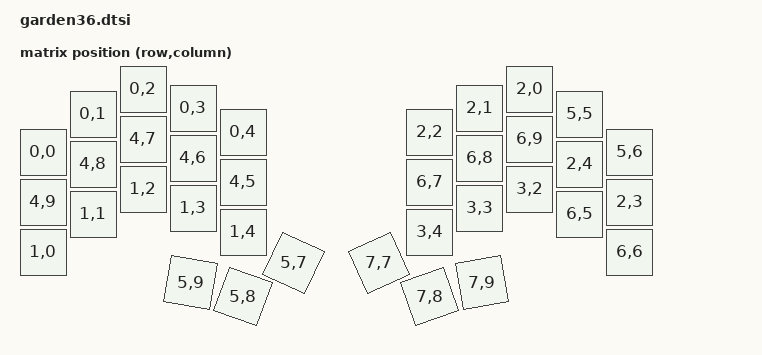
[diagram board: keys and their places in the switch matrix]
#include <physical_layouts.dtsi>
#include <dt-bindings/zmk/matrix_transform.h>

 / {
     chosen {
         zmk,kscan            = &kscan0;
         zmk,physical-layout  = &physical_layout0;
     };
     
    default_transform: keymap_transform_0 {
         compatible = "zmk,matrix-transform";
         columns    = <10>;
         rows       = <8>;
    
         // | SW1  | SW2  | SW3  | SW4  | SW5  |   | SW15 | SW11 | SW7  | SW4  | SW1  |
         // | SW6  | SW7  | SW8  | SW9  | SW10 |   | SW16 | SW12 | SW8  | SW5  | SW2  |
         // | SW11 | SW12 | SW13 | SW14 | SW15 |   | SW17 | SW13 | SW9  | SW6  | SW3  |
         //               | SW16 | SW17 | SW18 |   | SW18 | SW14 | SW10 |

        map = <
            RC(0,0) RC(0,1) RC(0,2) RC(0,3) RC(0,4)     RC(4,9) RC(4,8) RC(4,7) RC(4,6) RC(4,5)
            RC(1,0) RC(1,1) RC(1,2) RC(1,3) RC(1,4)     RC(5,9) RC(5,8) RC(5,7) RC(5,6) RC(5,5)
            RC(2,0) RC(2,1) RC(2,2) RC(2,3) RC(2,4)     RC(6,9) RC(6,8) RC(6,7) RC(6,6) RC(6,5)
                            RC(3,2) RC(3,3) RC(3,4)     RC(7,9) RC(7,8) RC(7,7)
        >;
    };
     physical_layout0: physical_layout_0 {
        compatible = "zmk,physical-layout";
        display-name = "Default Layout";

        kscan = <&kscan0>;
        transform = <&default_transform>;

        keys  //                     w   h    x    y     rot    rx    ry
            = <&key_physical_attrs 100 100    0  126       0     0     0>
            , <&key_physical_attrs 100 100  100   50       0     0     0>
            , <&key_physical_attrs 100 100  200    0       0     0     0>
            , <&key_physical_attrs 100 100  300   38       0     0     0>
            , <&key_physical_attrs 100 100  400   86       0     0     0>
            , <&key_physical_attrs 100 100    0  226       0     0     0>
            , <&key_physical_attrs 100 100  100  150       0     0     0>
            , <&key_physical_attrs 100 100  200  100       0     0     0>
            , <&key_physical_attrs 100 100  300  138       0     0     0>
            , <&key_physical_attrs 100 100  400  186       0     0     0>
            , <&key_physical_attrs 100 100    0  326       0     0     0>
            , <&key_physical_attrs 100 100  100  250       0     0     0>
            , <&key_physical_attrs 100 100  200  200       0     0     0>
            , <&key_physical_attrs 100 100  300  238       0     0     0>
            , <&key_physical_attrs 100 100  400  286       0     0     0>
            , <&key_physical_attrs 100 100  295  387    1000   345   437>
            , <&key_physical_attrs 100 100  400  415    2000   450   465>
            , <&key_physical_attrs 100 100  501  348    2500   551   398>
            , <&key_physical_attrs 100 100 1173  126       0     0     0>
            , <&key_physical_attrs 100 100 1073   50       0     0     0>
            , <&key_physical_attrs 100 100  973    0       0     0     0>
            , <&key_physical_attrs 100 100  873   38       0     0     0>
            , <&key_physical_attrs 100 100  773   86       0     0     0>
            , <&key_physical_attrs 100 100 1173  226       0     0     0>
            , <&key_physical_attrs 100 100 1073  150       0     0     0>
            , <&key_physical_attrs 100 100  973  100       0     0     0>
            , <&key_physical_attrs 100 100  873  138       0     0     0>
            , <&key_physical_attrs 100 100  773  186       0     0     0>
            , <&key_physical_attrs 100 100 1173  326       0     0     0>
            , <&key_physical_attrs 100 100 1073  250       0     0     0>
            , <&key_physical_attrs 100 100  973  200       0     0     0>
            , <&key_physical_attrs 100 100  873  238       0     0     0>
            , <&key_physical_attrs 100 100  773  286       0     0     0>
            , <&key_physical_attrs 100 100  878  387 (-1000)   928   437>
            , <&key_physical_attrs 100 100  773  415 (-2000)   823   465>
            , <&key_physical_attrs 100 100  672  348 (-2500)   722   398>
            ;
    };

    kscan0: kscan0 {
        compatible = "zmk,kscan-gpio-matrix";
        diode-direction = "col2row";
        wakeup-source;
    };
};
